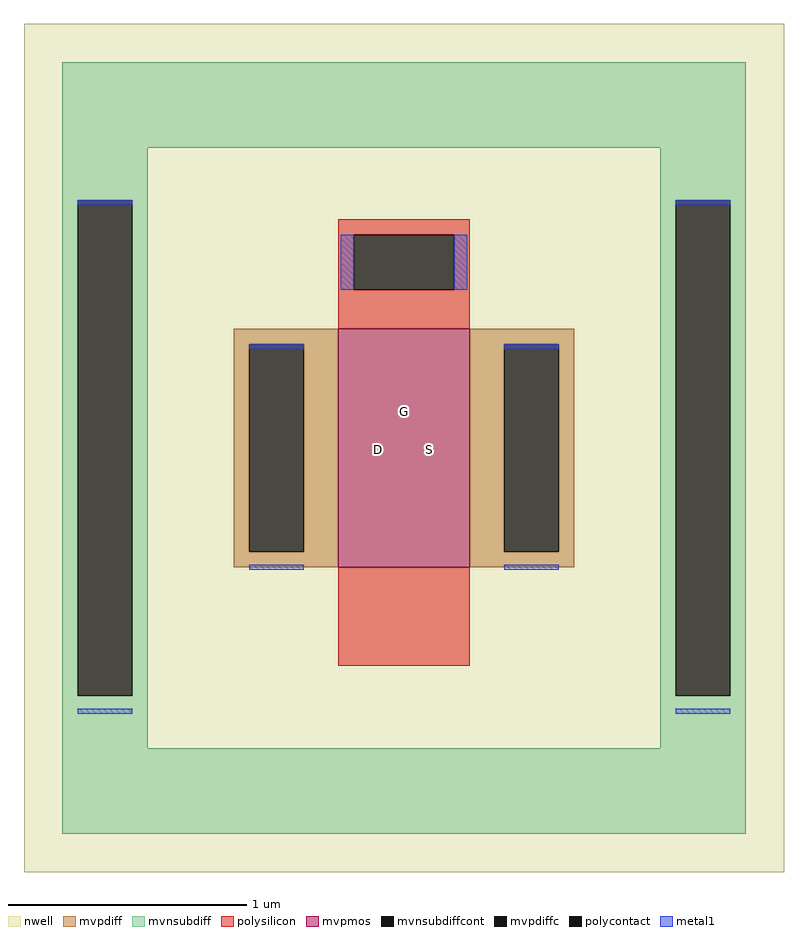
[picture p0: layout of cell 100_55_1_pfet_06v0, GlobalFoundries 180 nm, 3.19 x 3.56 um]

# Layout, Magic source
magic
tech gf180mcuD
magscale 1 10
<< nwell >>
rect -319 -356 319 356
<< mvpmos >>
rect -55 -100 55 100
<< mvpdiff >>
rect -143 87 -55 100
rect -143 -87 -130 87
rect -84 -87 -55 87
rect -143 -100 -55 -87
rect 55 87 143 100
rect 55 -87 84 87
rect 130 -87 143 87
rect 55 -100 143 -87
<< mvpdiffc >>
rect -130 -87 -84 87
rect 84 -87 130 87
<< mvnsubdiff >>
rect -287 252 287 324
rect -287 208 -215 252
rect -287 -208 -274 208
rect -228 -208 -215 208
rect 215 208 287 252
rect -287 -252 -215 -208
rect 215 -208 228 208
rect 274 -208 287 208
rect 215 -252 287 -208
rect -287 -324 287 -252
<< mvnsubdiffcont >>
rect -274 -208 -228 208
rect 228 -208 274 208
<< polysilicon >>
rect -55 179 55 192
rect -55 133 -42 179
rect 42 133 55 179
rect -55 100 55 133
rect -55 -183 55 -100
<< polycontact >>
rect -42 133 42 179
<< metal1 >>
rect -274 208 -228 204
rect 228 208 274 204
rect -53 133 -42 179
rect 42 133 53 179
rect -130 87 -84 83
rect -130 -98 -84 -102
rect 84 87 130 83
rect 84 -98 130 -102
rect -274 -219 -228 -223
rect 228 -219 274 -223
<< labels >>
flabel metal1 -21 -1 -21 -1 0 FreeSans 240 0 0 0 D
flabel metal1 0 31 0 31 0 FreeSans 240 0 0 0 G
flabel metal1 21 -1 21 -1 0 FreeSans 240 0 0 0 S
<< properties >>
string FIXED_BBOX -251 -288 251 288
<< end >>
